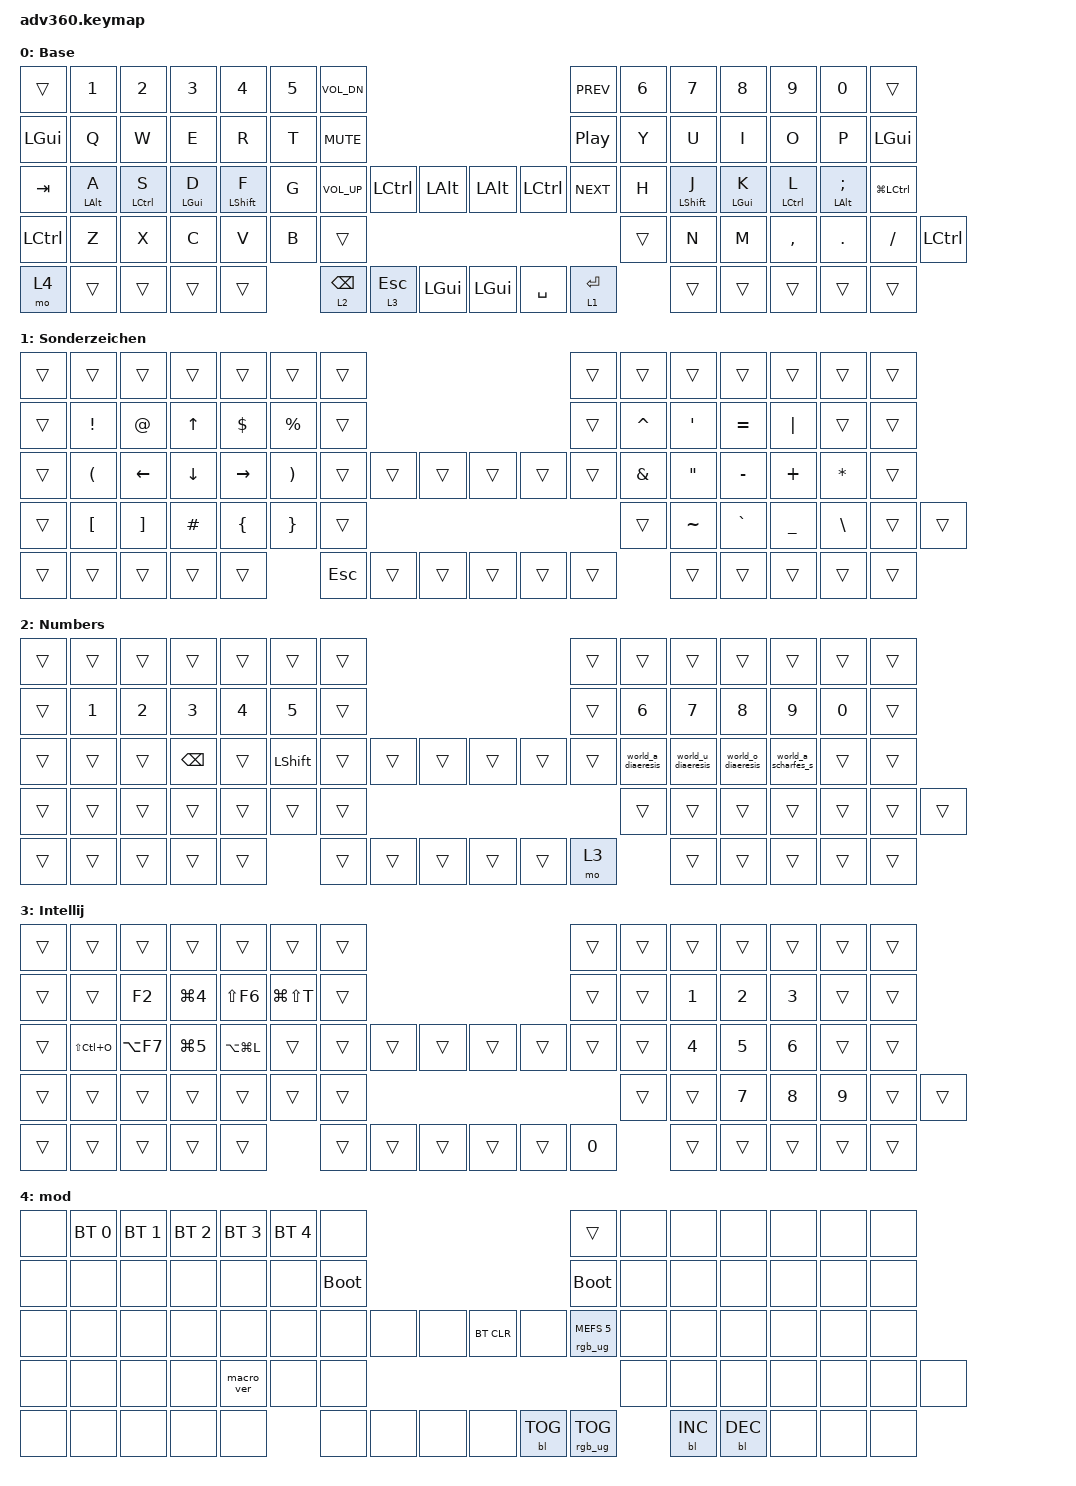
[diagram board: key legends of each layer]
#include <behaviors.dtsi>
#include <dt-bindings/zmk/backlight.h>
#include <dt-bindings/zmk/bt.h>
#include <dt-bindings/zmk/keys.h>
#include <dt-bindings/zmk/rgb.h>

/ {
    behaviors {
        #include "macros.dtsi"
      #include "version.dtsi"

      //////////////////////////////////////////////////////////////////////////
          //
          // Miryoku layers and home row mods (ported from my QMK endgame)
          // - https://sunaku.github.io/home-row-mods.html#porting-to-zmk
          // - https://github.com/urob/zmk-config#timeless-homerow-mods
          //
          //////////////////////////////////////////////////////////////////////////

          //
          // HOMEY_HOLDING_TYPE defines the flavor of ZMK hold-tap behavior to use
          // for the pinky, ring, and middle fingers (which are assigned to Super,
          // Alt, and Ctrl respectively in the Miryoku system) on home row keys.
          //
          #define HOMEY_HOLDING_TYPE "tap-preferred"

          //
          // HOMEY_HOLDING_TIME defines how long you need to hold (milliseconds)
          // home row mod keys in order to send their modifiers to the computer
          // (i.e. "register" them) for mod-click mouse usage (e.g. Ctrl-Click).
          //
          #define HOMEY_HOLDING_TIME 270 // TAPPING_TERM + ALLOW_CROSSOVER_AFTER

          //
          // HOMEY_STREAK_DECAY defines how long you need to wait (milliseconds)
          // after typing before you can use home row mods again.  It prevents
          // unintended activation of home row mods when you're actively typing.
          //
          #define HOMEY_STREAK_DECAY 170 // global-quick-tap-ms

          //
          // HOMEY_REPEAT_DECAY defines how much time you have left (milliseconds)
          // after tapping a key to hold it again in order to make it auto-repeat.
          //
          #define HOMEY_REPEAT_DECAY 300 // "tap then hold" for key auto-repeat

          //
          // SHIFT_HOLDING_TYPE defines the flavor of ZMK hold-tap behavior to use
          // for index fingers (which Miryoku assigns to Shift) on home row keys.
          //
          // NOTE: The "tap-preferred" flavor of ZMK hold-tap for index finger keys
          // allows faster activation of the Shift modifier (without having to wait
          // for the modified key to be released as the "balanced" flavor requires).
          // Typing streaks and the `hold-trigger-on-release` setting are disabled
          // for the index fingers so as not to hinder their speed and dexterity.
          //
          #define SHIFT_HOLDING_TYPE "tap-preferred"

          //
          // SHIFT_HOLDING_TIME defines how long you need to hold (milliseconds)
          // index finger keys in order to send their modifiers to the computer
          // (i.e. "register" them) for mod-click mouse usage (e.g. Shift-Click).
          //
          // CAUTION: You'll need to perform inward rolls from pinky->ring->middle
          // fingers toward the index fingers when activating multiple modifiers
          // because `hold-trigger-on-release` is disabled for the index fingers.
          // Otherwise, you may be surprised that the index fingers' modifier is
          // sent immediately without the rest of your multi-mod chord when you
          // perform outward rolls from your index fingers toward your pinkies.
          //
          #define SHIFT_HOLDING_TIME 170

          //
          // SHIFT_STREAK_DECAY defines how long you need to wait (milliseconds)
          // after typing before you can use home row mods again.  It prevents
          // unintended activation of home row mods when you're actively typing.
          //
          #define SHIFT_STREAK_DECAY 70 // global-quick-tap-ms

          //
          // SHIFT_REPEAT_DECAY defines how much time you have left (milliseconds)
          // after tapping a key to hold it again in order to make it auto-repeat.
          //
          #define SHIFT_REPEAT_DECAY 300 // "tap then hold" for key auto-repeat

          //
          // THUMB_HOLDING_TYPE defines the flavor of ZMK hold-tap behavior to use
          // for the thumbs (which are assigned to 6 layers in the Miryoku system).
          //
          // NOTE: The "balanced" flavor of ZMK hold-tap provides instant modifier
          // activation for the symbol layer (if the tapped symbol key is released
          // while the thumb layer key is still held down) for quicker programming.
          //
          #define THUMB_HOLDING_TYPE "balanced"

          //
          // THUMB_HOLDING_TIME defines how long you need to hold (milliseconds)
          // a thumb key to activate a layer.  Shorter holds are treated as taps.
          //
          #define THUMB_HOLDING_TIME 200

          //
          // THUMB_REPEAT_DECAY defines how much time you have left (milliseconds)
          // after tapping a key to hold it again in order to make it auto-repeat.
          //
          #define THUMB_REPEAT_DECAY 300 // "tap then hold" for key auto-repeat

          //
          // SPACE_HOLDING_TIME defines how long you need to hold (milliseconds)
          // the space thumb key to activate.  Shorter holds are treated as taps.
          //
          #define SPACE_HOLDING_TIME 170

          //
          // SPACE_REPEAT_DECAY defines how much time you have left (milliseconds)
          // after tapping a key to hold it again in order to make it auto-repeat.
          //
          #define SPACE_REPEAT_DECAY 200 // "tap then hold" for key auto-repeat

          //
          // Glove80 key positions index for positional hold-tap
          // - https://discord.com/channels/877392805654306816/937645688244826154/1066713913351221248
          // - https://media.discordapp.net/attachments/937645688244826154/1066713913133121556/image.png
          //
          // |------------------------|------------------------|
          // | LEFT_HAND_KEYS         |        RIGHT_HAND_KEYS |
          // |                        |                        |
          // |  0  1  2  3  4         |          5  6  7  8  9 |
          // | 10 11 12 13 14 15      |      16 17 18 19 20 21 |
          // | 22 23 24 25 26 27      |      28 29 30 31 32 33 |
          // | 34 35 36 37 38 39      |      40 41 42 43 44 45 |
          // | 46 47 48 49 50 51      |      58 59 60 61 62 63 |
          // | 64 65 66 67 68         |         75 76 77 78 79 |
          // |                69 52   |   57 74                |
          // |                 70 53  |  56 73                 |
          // |                  71 54 | 55 72                  |
          // |------------------------|------------------------|
          //
          #define LEFT_HAND_KEYS      \
                  0  1  2  3  4  5  6 \
                 14 15 16 17 18 19 20 \
                 28 29 30 31 32 33 34 \
                 46 47 48 49 50 51    \
                 60 61 62 63 64
          #define RIGHT_HAND_KEYS     \
                                           7  8  9 10 11 12 13 \
                                          21 22 23 24 25 26 27 \
                                          39 40 41 42 43 44 45 \
                                             54 55 56 57 58 59 \
                                                71 72 73 74 75
          #define THUMB_KEYS          \
                              35 36      37 38           \
                              52         53              \
                              65 66 67   68 69 70

          //
          // Home row mod-tap keys for all except index fingers
          //
          homey_left: miryoku_home_row_mods_left_hand {
              compatible = "zmk,behavior-hold-tap";
              label = "HOME_ROW_MODS_LEFT_HAND";
              flavor = HOMEY_HOLDING_TYPE;
              hold-trigger-key-positions = <RIGHT_HAND_KEYS THUMB_KEYS>;
              hold-trigger-on-release; // wait for other home row mods
              tapping-term-ms = <HOMEY_HOLDING_TIME>;
              quick-tap-ms = <HOMEY_REPEAT_DECAY>;
              require-prior-idle-ms = <HOMEY_STREAK_DECAY>;
              #binding-cells = <2>;
              bindings = <&kp>, <&kp>;
          };
          homey_right: miryoku_home_row_mods_right_hand {
              compatible = "zmk,behavior-hold-tap";
              label = "HOME_ROW_MODS_RIGHT_HAND";
              flavor = HOMEY_HOLDING_TYPE;
              hold-trigger-key-positions = <LEFT_HAND_KEYS THUMB_KEYS>;
              hold-trigger-on-release; // wait for other home row mods
              tapping-term-ms = <HOMEY_HOLDING_TIME>;
              quick-tap-ms = <HOMEY_REPEAT_DECAY>;
              require-prior-idle-ms = <HOMEY_STREAK_DECAY>;
              #binding-cells = <2>;
              bindings = <&kp>, <&kp>;
          };

          //
          // Special home row mod-tap keys for the index fingers
          //
          shift_left: miryoku_home_row_mods_left_shift_shift {
              compatible = "zmk,behavior-hold-tap";
              label = "HOME_ROW_MODS_LEFT_SHIFT_SHIFT";
              flavor = SHIFT_HOLDING_TYPE;
              hold-trigger-key-positions = <RIGHT_HAND_KEYS THUMB_KEYS>;
              //hold-trigger-on-release; // don't wait for other mods
              tapping-term-ms = <SHIFT_HOLDING_TIME>;
              quick-tap-ms = <SHIFT_REPEAT_DECAY>;
              require-prior-idle-ms = <SHIFT_STREAK_DECAY>;
              #binding-cells = <2>;
              bindings = <&kp>, <&kp>;
          };
          shift_right: miryoku_home_row_mods_right_shift_shift {
              compatible = "zmk,behavior-hold-tap";
              label = "HOME_ROW_MODS_RIGHT_SHIFT_SHIFT";
              flavor = SHIFT_HOLDING_TYPE;
              hold-trigger-key-positions = <LEFT_HAND_KEYS THUMB_KEYS>;
              //hold-trigger-on-release; // don't wait for other mods
              tapping-term-ms = <SHIFT_HOLDING_TIME>;
              quick-tap-ms = <SHIFT_REPEAT_DECAY>;
              require-prior-idle-ms = <SHIFT_STREAK_DECAY>;
              #binding-cells = <2>;
              bindings = <&kp>, <&kp>;
          };

          //
          // Thumb cluster hold-tap keys for Miryoku layers
          //
          thumb: miryoku_thumb_layer {
              compatible = "zmk,behavior-hold-tap";
              label = "MIRYOKU_THUMB_LAYER";
              flavor = THUMB_HOLDING_TYPE;
              tapping-term-ms = <THUMB_HOLDING_TIME>;
              quick-tap-ms = <THUMB_REPEAT_DECAY>; // enable repeat
              //global-quick-tap; // no typing streak
              //retro-tap; // don't allow slow (hold-like) taps
              #binding-cells = <2>;
              bindings = <&mo>, <&kp>;
          };
          space: miryoku_thumb_layer_spacebar {
              compatible = "zmk,behavior-hold-tap";
              label = "MIRYOKU_THUMB_LAYER_SPACEBAR";
              flavor = THUMB_HOLDING_TYPE;
              tapping-term-ms = <SPACE_HOLDING_TIME>;
              quick-tap-ms = <SPACE_REPEAT_DECAY>; // enable repeat
              //global-quick-tap; // no typing streak
              retro-tap; // allow slow (hold-like) taps
              #binding-cells = <2>;
              bindings = <&mo>, <&kp>;
          };

      #ifndef VERSION_MACRO

        macro_ver: macro_ver {
            compatible = "zmk,behavior-macro";
            label = "macro_version";
            #binding-cells = <0>;
            bindings = <&kp RET>;
        };

        #endif

        hm: homerow_mods {
            compatible = "zmk,behavior-hold-tap";
            label = "HOMEROW_MODS";
            #binding-cells = <2>;
            tapping-term-ms = <200>;
            quick_tap_ms = <175>;
            flavor = "tap-preferred";
            bindings = <&kp>, <&kp>;
        };
    };

    macros {
    #ifndef UNICODE_TARGET_OS
    //#define UNICODE_TARGET_OS 1 // linux
    #define UNICODE_TARGET_OS 2 // macos
    //#define UNICODE_TARGET_OS 3 // windows
    #endif

    //
    // UNICODE_TAP_DELAY defines how long the macro waits (milliseconds)
    // between keystrokes while inputting the Unicode codepoint shortcut.
    //
    #ifndef UNICODE_TAP_DELAY
    #define UNICODE_TAP_DELAY 1
    #endif

    //
    // UNICODE_SEQ_DELAY defines how long the macro waits (milliseconds)
    // between emitting Unicode codepoints in multi-codepoint characters.
    //
    #ifndef UNICODE_SEQ_DELAY
    #define UNICODE_SEQ_DELAY 10
    #endif

    #define UNICODE(name, ...) \
        ZMK_MACRO(name, \
            wait-ms = <UNICODE_TAP_DELAY>; \
            tap-ms = <UNICODE_TAP_DELAY>; \
            bindings = __VA_ARGS__; \
        )

      /* ü */ UNICODE(world_u_diaeresis_lower,
      #if UNICODE_TARGET_OS == 1
        <&kp LC(LS(U)) &kp F &kp C &kp ENTER>
      #elif UNICODE_TARGET_OS == 2
        <&macro_press &kp LALT>, <&macro_tap &kp N0 &kp N0 &kp F &kp C>, <&macro_release &kp LALT>
      #elif UNICODE_TARGET_OS == 3
        <&macro_press &kp LALT>, <&macro_tap &kp KP_PLUS &kp F &kp C>, <&macro_release &kp LALT>
      #endif
      )

      /* Ü */ UNICODE(world_u_diaeresis_upper,
      #if UNICODE_TARGET_OS == 1
        <&kp LC(LS(U)) &kp D &kp C &kp ENTER>
      #elif UNICODE_TARGET_OS == 2
        <&macro_press &kp LALT>, <&macro_tap &kp N0 &kp N0 &kp D &kp C>, <&macro_release &kp LALT>
      #elif UNICODE_TARGET_OS == 3
        <&macro_press &kp LALT>, <&macro_tap &kp KP_PLUS &kp D &kp C>, <&macro_release &kp LALT>
      #endif
      )

      /* ö */ UNICODE(world_o_diaeresis_lower,
      #if UNICODE_TARGET_OS == 1
        <&kp LC(LS(U)) &kp F &kp N6 &kp ENTER>
      #elif UNICODE_TARGET_OS == 2
        <&macro_press &kp LALT>, <&macro_tap &kp N0 &kp N0 &kp F &kp N6>, <&macro_release &kp LALT>
      #elif UNICODE_TARGET_OS == 3
        <&macro_press &kp LALT>, <&macro_tap &kp KP_PLUS &kp F &kp KP_N6>, <&macro_release &kp LALT>
      #endif
    )

      /* Ö */ UNICODE(world_o_diaeresis_upper,
      #if UNICODE_TARGET_OS == 1
        <&kp LC(LS(U)) &kp D &kp N6 &kp ENTER>
      #elif UNICODE_TARGET_OS == 2
        <&macro_press &kp LALT>, <&macro_tap &kp N0 &kp N0 &kp D &kp N6>, <&macro_release &kp LALT>
      #elif UNICODE_TARGET_OS == 3
        <&macro_press &kp LALT>, <&macro_tap &kp KP_PLUS &kp D &kp KP_N6>, <&macro_release &kp LALT>
      #endif
    )

      /* ä */ UNICODE(world_a_diaeresis_lower,
      #if UNICODE_TARGET_OS == 1
        <&kp LC(LS(U)) &kp E &kp N4 &kp ENTER>
      #elif UNICODE_TARGET_OS == 2
        <&macro_press &kp LALT>, <&macro_tap &kp N0 &kp N0 &kp E &kp N4>, <&macro_release &kp LALT>
      #elif UNICODE_TARGET_OS == 3
        <&macro_press &kp LALT>, <&macro_tap &kp KP_PLUS &kp E &kp KP_N4>, <&macro_release &kp LALT>
      #endif
    )

      /* Ä */ UNICODE(world_a_diaeresis_upper,
      #if UNICODE_TARGET_OS == 1
        <&kp LC(LS(U)) &kp C &kp N4 &kp ENTER>
      #elif UNICODE_TARGET_OS == 2
        <&macro_press &kp LALT>, <&macro_tap &kp N0 &kp N0 &kp C &kp N4>, <&macro_release &kp LALT>
      #elif UNICODE_TARGET_OS == 3
        <&macro_press &kp LALT>, <&macro_tap &kp KP_PLUS &kp C &kp KP_N4>, <&macro_release &kp LALT>
      #endif
    )

    /* Ä */ UNICODE(world_a_scharfes_s,
      #if UNICODE_TARGET_OS == 1
        <&kp LC(LS(U)) &kp C &kp N4 &kp ENTER>
      #elif UNICODE_TARGET_OS == 2
        <&macro_press &kp LALT>, <&macro_tap &kp N0 &kp N0 &kp D &kp F>, <&macro_release &kp LALT>
      #elif UNICODE_TARGET_OS == 3
        <&macro_press &kp LALT>, <&macro_tap &kp KP_PLUS &kp C &kp KP_N4>, <&macro_release &kp LALT>
      #endif
    )

    world_a_diaeresis: world_a_diaeresis {
        compatible = "zmk,behavior-mod-morph";
        label = "WORLD_A_DIAERESIS";
        #binding-cells = <0>;
        bindings = <&world_a_diaeresis_lower>, <&world_a_diaeresis_upper>;
        mods = <MOD_LSFT>;
    };

      world_o_diaeresis: world_o_diaeresis {
        compatible = "zmk,behavior-mod-morph";
        label = "WORLD_O_DIAERESIS";
        #binding-cells = <0>;
        bindings = <&world_o_diaeresis_lower>, <&world_o_diaeresis_upper>;
        mods = <MOD_LSFT>;
    };

      world_u_diaeresis: world_u_diaeresis {
        compatible = "zmk,behavior-mod-morph";
        label = "WORLD_U_DIAERESIS";
        #binding-cells = <0>;
        bindings = <&world_u_diaeresis_lower>, <&world_u_diaeresis_upper>;
        mods = <MOD_LSFT>;
    };


      super_geheim: super_geheim {
          compatible = "zmk,behavior-macro";
          #binding-cells = <0>;
          bindings = <&macro_tap &kp N1 &kp N2 &kp N7 &kp C &kp H &kp HASH &kp U>,
                     <&macro_press &kp LSHFT>, <&macro_tap &kp F>, <&macro_release &kp LSHFT>,
                     <&macro_tap &kp P>,
                     <&macro_press &kp LSHFT>, <&macro_tap &kp U>, <&macro_release &kp LSHFT>,
                    <&macro_tap &kp N7 &kp EXCLAMATION>;
    };

    };
};

/ {
    keymap {
        compatible = "zmk,keymap";


        Base {
            bindings = <
&trans  &kp NUMBER_1          &kp NUMBER_2         &kp NUMBER_3        &kp NUMBER_4 &kp NUMBER_5  &kp C_VOL_DN                                         &kp C_PREV       &kp NUMBER_6  &kp NUMBER_7 &kp NUMBER_8  &kp NUMBER_9  &kp NUMBER_0 &trans
&kp LGUI  &kp Q               &kp W                &kp E               &kp R   &kp T   &kp C_MUTE                                                      &kp C_PP         &kp Y   &kp U   &kp I      &kp O       &kp P          &kp LGUI
&kp TAB  &homey_left LALT A  &homey_left LCTRL S  &homey_left LGUI D  &shift_left LSHIFT F   &kp G  &kp C_VOL_UP   &kp LCTRL &kp LALT      &kp LALT  &kp LCTRL  &kp C_NEXT       &kp H   &shift_right LSHIFT J   &homey_right LGUI K      &homey_right LCTRL L       &homey_right LALT SEMICOLON  &kp LG(LCTRL)
&kp LCTRL  &kp Z               &kp X                &kp C               &kp V   &kp B                         &trans      &trans                                         &kp N   &kp M   &kp COMMA  &kp PERIOD  &kp SLASH      &kp LCTRL
&mo 4   &trans              &trans               &trans              &trans           &thumb 2 BACKSPACE  &thumb 3 ESC    &kp LGUI    &kp LGUI &kp SPACE   &thumb 1 ENTER               &trans  &trans     &trans      &trans         &trans
            >;
        };

        Sonderzeichen {
            bindings = <
&trans  &trans                &trans             &trans          &trans          &trans                 &trans                                      &trans  &trans         &trans             &trans          &trans         &trans        &trans
&trans  &kp EXCLAMATION       &kp AT_SIGN        &kp UP_ARROW    &kp DOLLAR      &kp PERCENT            &trans                                      &trans  &kp CARET      &kp SINGLE_QUOTE   &kp EQUAL       &kp PIPE       &trans        &trans
&trans  &kp LEFT_PARENTHESIS  &kp LEFT           &kp DOWN_ARROW  &kp RIGHT       &kp RIGHT_PARENTHESIS  &trans  &trans  &trans      &trans  &trans  &trans  &kp AMPERSAND  &kp DOUBLE_QUOTES  &kp MINUS       &kp PLUS       &kp ASTERISK  &trans
&trans  &kp LEFT_BRACKET      &kp RIGHT_BRACKET  &kp HASH        &kp LEFT_BRACE  &kp RIGHT_BRACE                                &trans      &trans                  &kp TILDE      &kp GRAVE          &kp UNDERSCORE  &kp BACKSLASH  &trans        &trans
&trans  &trans                &trans             &trans          &trans                                 &kp ESC &trans  &trans      &trans  &trans  &trans                 &trans             &trans          &trans         &trans        &trans
            >;
        };

        Numbers {
            bindings = <
&trans  &trans        &trans        &trans         &trans        &trans        &trans                                      &trans  &trans        &trans        &trans        &trans        &trans        &trans
&trans  &kp NUMBER_1  &kp NUMBER_2  &kp NUMBER_3   &kp NUMBER_4  &kp NUMBER_5  &trans                                      &trans  &kp NUMBER_6  &kp NUMBER_7  &kp NUMBER_8  &kp NUMBER_9  &kp NUMBER_0  &trans
&trans  &trans        &trans        &kp BACKSPACE  &trans        &kp LSHIFT    &trans  &trans  &trans      &trans  &trans  &trans  &world_a_diaeresis         &world_u_diaeresis         &world_o_diaeresis   &world_a_scharfes_s        &trans        &trans
&trans  &trans        &trans        &trans         &trans        &trans                        &trans      &trans                  &trans        &trans        &trans        &trans        &trans        &trans
&trans  &trans        &trans        &trans         &trans                      &trans  &trans  &trans      &trans  &trans  &mo 3                 &trans        &trans        &trans        &trans        &trans
            >;
        };

        Intellij {
            bindings = <
&trans  &trans         &trans      &trans            &trans         &trans         &trans                                      &trans  &trans  &trans  &trans  &trans                    &trans  &trans
&trans  &trans         &kp F2      &kp LG(NUMBER_4)  &kp LS(F6)     &kp LG(LS(T))  &trans                                      &trans  &trans  &kp NUMBER_1  &kp NUMBER_2  &kp NUMBER_3  &trans  &trans
&trans  &kp LS(LC(O))  &kp LA(F7)  &kp LG(NUMBER_5)  &kp LA(LG(L))  &trans         &trans  &trans  &trans      &trans  &trans  &trans  &trans  &kp NUMBER_4  &kp NUMBER_5  &kp NUMBER_6  &trans  &trans
&trans  &trans         &trans      &trans            &trans         &trans                         &trans      &trans                  &trans  &kp NUMBER_7  &kp NUMBER_8  &kp NUMBER_9  &trans  &trans
&trans  &trans         &trans      &trans            &trans                        &trans  &trans  &trans      &trans  &trans  &kp NUMBER_0          &trans  &trans  &trans              &trans  &trans
            >;
        };

        mod {
            bindings = <
&none  &bt BT_SEL 0  &bt BT_SEL 1  &bt BT_SEL 2  &bt BT_SEL 3  &bt BT_SEL 4  &none                                                  &trans                  &none  &none       &none       &none  &none  &none
&none  &none         &none         &none         &none         &none         &bootloader                                            &bootloader             &none  &none       &none       &none  &none  &none
&none  &none         &none         &none         &none         &none         &none        &none  &none      &bt BT_CLR  &none       &rgb_ug RGB_MEFS_CMD 5  &none  &none       &none       &none  &none  &none
&none  &none         &none         &none         &macro_ver    &none                             &none      &none                                           &none  &none       &none       &none  &none  &none
&none  &none         &none         &none         &none                       &none        &none  &none      &none       &bl BL_TOG  &rgb_ug RGB_TOG                &bl BL_INC  &bl BL_DEC  &none  &none  &none
            >;
        };
    };
};
